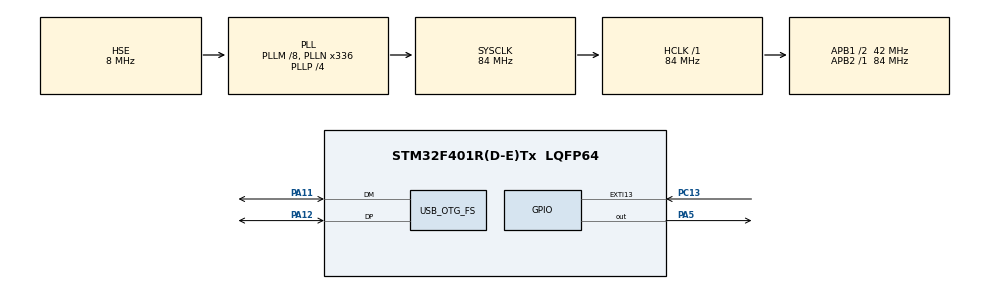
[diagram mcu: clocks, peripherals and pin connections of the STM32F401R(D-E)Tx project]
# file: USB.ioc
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Mcu.Family=STM32F4
Mcu.Name=STM32F401R(D-E)Tx
Mcu.Package=LQFP64
NVIC.EXTI15_10_IRQn=true\:2\:0\:true\:false\:true\:true\:true
NVIC.OTG_FS_IRQn=true\:1\:0\:true\:false\:true\:true\:true
NVIC.PriorityGroup=NVIC_PRIORITYGROUP_4
PA11.Mode=Device_Only
PA11.Signal=USB_OTG_FS_DM
PA12.Mode=Device_Only
PA12.Signal=USB_OTG_FS_DP
PA5.Signal=GPIO_Output
PC13-ANTI_TAMP.Signal=GPXTI13
PH0\ -\ OSC_IN.Mode=HSE-External-Clock-Source
PH0\ -\ OSC_IN.Signal=RCC_OSC_IN
PH1\ -\ OSC_OUT.Mode=HSE-External-Clock-Source
PH1\ -\ OSC_OUT.Signal=RCC_OSC_OUT
ProjectManager.HeapSize=0x200
ProjectManager.StackSize=0x400
ProjectManager.TargetToolchain=STM32CubeIDE
RCC.48MHZClocksFreq_Value=48000000
RCC.AHBFreq_Value=84000000
RCC.APB1CLKDivider=RCC_HCLK_DIV2
RCC.APB1Freq_Value=42000000
RCC.APB1TimFreq_Value=84000000
RCC.APB2Freq_Value=84000000
RCC.APB2TimFreq_Value=84000000
RCC.CortexFreq_Value=84000000
RCC.HCLKFreq_Value=84000000
RCC.HSE_VALUE=8000000
RCC.HSI_VALUE=16000000
RCC.LSE_VALUE=32768
RCC.PLLM=8
RCC.PLLN=336
RCC.PLLP=RCC_PLLP_DIV4
RCC.PLLQ=7
RCC.SYSCLKFreq_VALUE=84000000
RCC.SYSCLKSource=RCC_SYSCLKSOURCE_PLLCLK
RCC.VCOOutputFreq_Value=336000000
USB_DEVICE.CLASS_NAME_FS=HID
USB_DEVICE.PID_HID_FS=22352
USB_DEVICE.VirtualMode-HID_FS=Hid
USB_DEVICE.VirtualModeFS=Hid_FS
USB_OTG_FS.VirtualMode=Device_Only
VP_USB_DEVICE_VS_USB_DEVICE_HID_FS.Mode=HID_FS
board=custom

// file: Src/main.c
/* USER CODE BEGIN Header */
/**
  ******************************************************************************
  * @file           : main.c
  * @brief          : Main program body
  ******************************************************************************
  * @attention
  *
  * <h2><center>&copy; Copyright (c) 2019 STMicroelectronics.
  * All rights reserved.</center></h2>
  *
  * This software component is licensed by ST under BSD 3-Clause license,
  * the "License"; You may not use this file except in compliance with the
  * License. You may obtain a copy of the License at:
  *                        opensource.org/licenses/BSD-3-Clause
  *
  ******************************************************************************
  */
/* USER CODE END Header */
#include "main.h"
#include "usb_device.h"

/* USER CODE BEGIN PV */
extern USBD_HandleTypeDef hUsbDeviceFS;
__IO uint8_t Pushed = 0;
/* USER CODE END PV */

void SystemClock_Config(void);
static void MX_GPIO_Init(void);
/* USER CODE BEGIN PFP */
uint8_t USBD_HID_SendReport (USBD_HandleTypeDef *pdev,
                                 uint8_t *report,
                                 uint16_t len);
/* USER CODE END PFP */

int main(void)
{
  /* USER CODE BEGIN 1 */
	uint8_t buf[8];
  /* USER CODE END 1 */

  /* MCU Configuration--------------------------------------------------------*/

  /* Reset of all peripherals, Initializes the Flash interface and the Systick. */
  HAL_Init();

  /* Configure the system clock */
  SystemClock_Config();

  /* Initialize all configured peripherals */
  MX_GPIO_Init();
  MX_USB_DEVICE_Init();

  /* Infinite loop */
  while (1)
  {

    /* USER CODE BEGIN 3 */
	  memset(buf, 0, 8);
	  if (Pushed == 1) {
	    // Push button
	    buf[0] = 5; //Left Ctrl+Alt
	    buf[2] = 0x4c; // Delete
	    buf[3] = 0xe0; // Left Ctrl
	    buf[4] = 0xe2; // Left Alt
	    USBD_HID_SendReport(&hUsbDeviceFS, buf, 8);
	    Pushed = 0;
		HAL_Delay(100);
	    // Release button
	    buf[0] = 0;
	    buf[2] = 0;
	    buf[3] = 0;
	    buf[4] = 0;
	    USBD_HID_SendReport(&hUsbDeviceFS, buf, 8);
	  }
  }
  /* USER CODE END 3 */
}

void SystemClock_Config(void)
{
  RCC_OscInitTypeDef RCC_OscInitStruct = {0};
  RCC_ClkInitTypeDef RCC_ClkInitStruct = {0};

  /** Configure the main internal regulator output voltage
  */
  __HAL_RCC_PWR_CLK_ENABLE();
  __HAL_PWR_VOLTAGESCALING_CONFIG(PWR_REGULATOR_VOLTAGE_SCALE2);
  /** Initializes the RCC Oscillators according to the specified parameters
  * in the RCC_OscInitTypeDef structure.
  */
  RCC_OscInitStruct.OscillatorType = RCC_OSCILLATORTYPE_HSE;
  RCC_OscInitStruct.HSEState = RCC_HSE_BYPASS;
  RCC_OscInitStruct.PLL.PLLState = RCC_PLL_ON;
  RCC_OscInitStruct.PLL.PLLSource = RCC_PLLSOURCE_HSE;
  RCC_OscInitStruct.PLL.PLLM = 8;
  RCC_OscInitStruct.PLL.PLLN = 336;
  RCC_OscInitStruct.PLL.PLLP = RCC_PLLP_DIV4;
  RCC_OscInitStruct.PLL.PLLQ = 7;
  if (HAL_RCC_OscConfig(&RCC_OscInitStruct) != HAL_OK)
  {
    Error_Handler();
  }
  /** Initializes the CPU, AHB and APB buses clocks
  */
  RCC_ClkInitStruct.ClockType = RCC_CLOCKTYPE_HCLK|RCC_CLOCKTYPE_SYSCLK
                              |RCC_CLOCKTYPE_PCLK1|RCC_CLOCKTYPE_PCLK2;
  RCC_ClkInitStruct.SYSCLKSource = RCC_SYSCLKSOURCE_PLLCLK;
  RCC_ClkInitStruct.AHBCLKDivider = RCC_SYSCLK_DIV1;
  RCC_ClkInitStruct.APB1CLKDivider = RCC_HCLK_DIV2;
  RCC_ClkInitStruct.APB2CLKDivider = RCC_HCLK_DIV1;

  if (HAL_RCC_ClockConfig(&RCC_ClkInitStruct, FLASH_LATENCY_2) != HAL_OK)
  {
    Error_Handler();
  }
}

static void MX_GPIO_Init(void)
{
  GPIO_InitTypeDef GPIO_InitStruct = {0};

  /* GPIO Ports Clock Enable */
  __HAL_RCC_GPIOC_CLK_ENABLE();
  __HAL_RCC_GPIOH_CLK_ENABLE();
  __HAL_RCC_GPIOA_CLK_ENABLE();

  /*Configure GPIO pin Output Level */
  HAL_GPIO_WritePin(GPIOA, GPIO_PIN_5, GPIO_PIN_RESET);

  /*Configure GPIO pin : PC13 */
  GPIO_InitStruct.Pin = GPIO_PIN_13;
  GPIO_InitStruct.Mode = GPIO_MODE_IT_RISING;
  GPIO_InitStruct.Pull = GPIO_NOPULL;
  HAL_GPIO_Init(GPIOC, &GPIO_InitStruct);

  /*Configure GPIO pin : PA5 */
  GPIO_InitStruct.Pin = GPIO_PIN_5;
  GPIO_InitStruct.Mode = GPIO_MODE_OUTPUT_PP;
  GPIO_InitStruct.Pull = GPIO_NOPULL;
  GPIO_InitStruct.Speed = GPIO_SPEED_FREQ_LOW;
  HAL_GPIO_Init(GPIOA, &GPIO_InitStruct);

  /* EXTI interrupt init*/
  HAL_NVIC_SetPriority(EXTI15_10_IRQn, 2, 0);
  HAL_NVIC_EnableIRQ(EXTI15_10_IRQn);

}

/* USER CODE BEGIN 4 */
void HAL_GPIO_EXTI_Callback (uint16_t GPIO_Pin)
{
  if (GPIO_Pin == GPIO_PIN_13) {
    Pushed = 1;
  }
}
/* USER CODE END 4 */

void Error_Handler(void)
{
}

/************************ (C) COPYRIGHT STMicroelectronics *****END OF FILE****/
